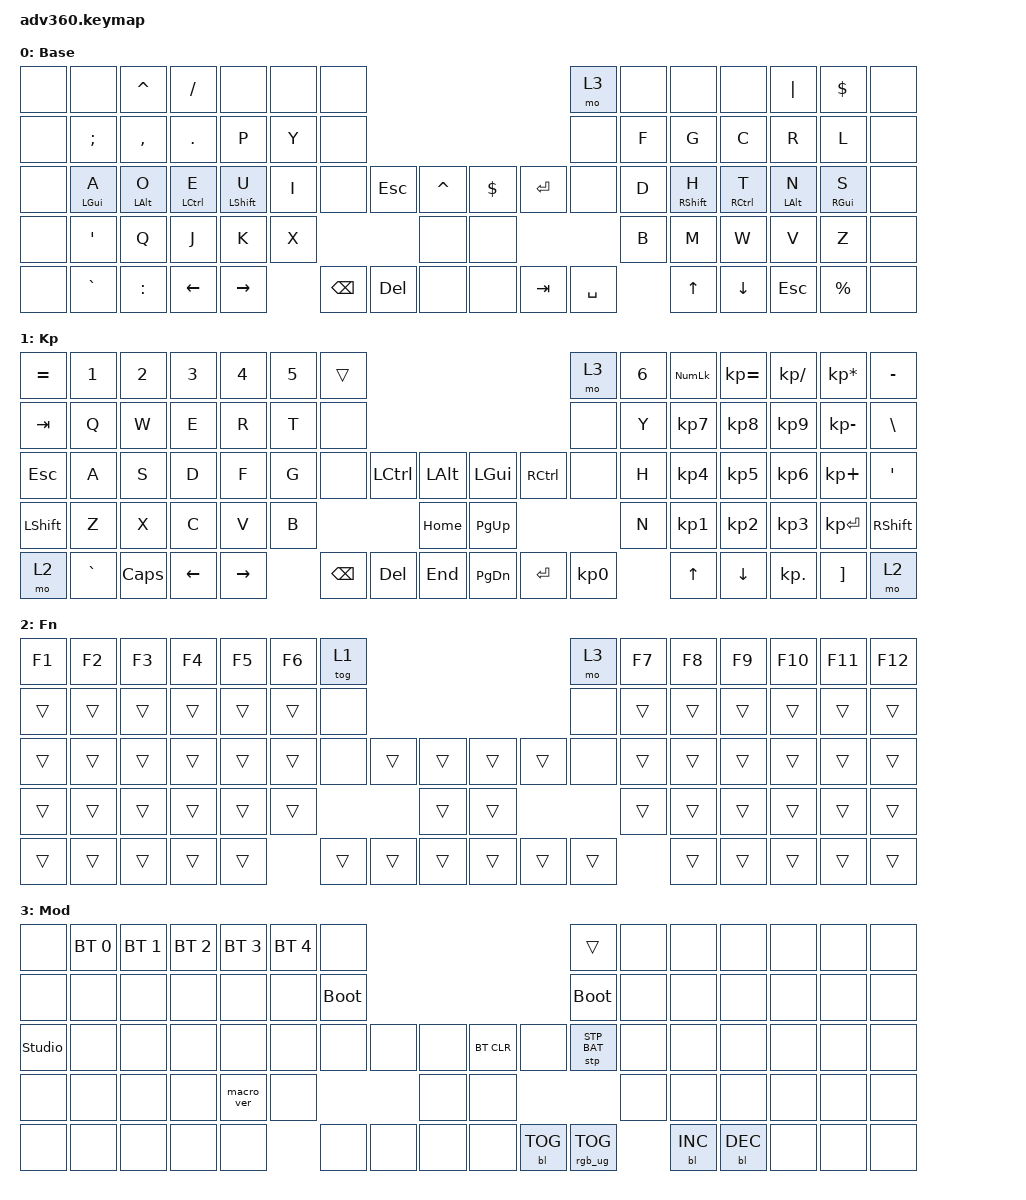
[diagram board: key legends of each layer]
#include <dt-bindings/zmk/stp.h>
#include <behaviors.dtsi>
#include <dt-bindings/zmk/backlight.h>
#include <dt-bindings/zmk/bt.h>
#include <dt-bindings/zmk/keys.h>
#include <dt-bindings/zmk/rgb.h>

/* Key positions */
/*
     LH_C6    LH_C5    LH_C4    LH_C3    LH_C2    LH_C1    LH_C0                                                           RH_C0    RH_C1    RH_C2    RH_C3    RH_C4    RH_C5    RH_C6

R1       0        1        2        3        4        5        6                                                               7        8        9       10       11       12       13
R2      14       15       16       17       18       19       20                                                              21       22       23       24       25       26       27
R3      28       29       30       31       32       33       34                35       36       37       38                 39       40       41       42       43       44       45
R4      46       47       48       49       50       51                                  52       53                                   54       55       56       57       58       59
R5      60       61       62       63       64                         65       66       67       68       69       70                          71       72       73       74       75
*/
// Row 1

#define POS_LH_C6R1 0
#define POS_LH_C5R1 1
#define POS_LH_C4R1 2
#define POS_LH_C3R1 3
#define POS_LH_C2R1 4
#define POS_LH_C1R1 5
#define POS_LH_C0R1 6
#define POS_RH_C0R1 7
#define POS_RH_C1R1 8
#define POS_RH_C2R1 9
#define POS_RH_C3R1 10
#define POS_RH_C4R1 11
#define POS_RH_C5R1 12
#define POS_RH_C6R1 13

// Row 2

#define POS_LH_C6R2 14
#define POS_LH_C5R2 15
#define POS_LH_C4R2 16
#define POS_LH_C3R2 17
#define POS_LH_C2R2 18
#define POS_LH_C1R2 19
#define POS_LH_C0R2 20
#define POS_RH_C0R2 21
#define POS_RH_C1R2 22
#define POS_RH_C2R2 23
#define POS_RH_C3R2 24
#define POS_RH_C4R2 25
#define POS_RH_C5R2 26
#define POS_RH_C6R2 27

// Row 3

#define POS_LH_C6R3 28
#define POS_LH_C5R3 29
#define POS_LH_C4R3 30
#define POS_LH_C3R3 31
#define POS_LH_C2R3 32
#define POS_LH_C1R3 33
#define POS_LH_C0R3 34
#define POS_LH_T1 35
#define POS_LH_T2 36
#define POS_RH_T2 37
#define POS_RH_T1 38
#define POS_RH_C0R3 39
#define POS_RH_C1R3 40
#define POS_RH_C2R3 41
#define POS_RH_C3R3 42
#define POS_RH_C4R3 43
#define POS_RH_C5R3 44
#define POS_RH_C6R3 45

// Row 4

#define POS_LH_C6R4 46
#define POS_LH_C5R4 47
#define POS_LH_C4R4 48
#define POS_LH_C3R4 49
#define POS_LH_C2R4 50
#define POS_LH_C1R4 51
#define POS_LH_T3 52
#define POS_RH_T3 53
#define POS_RH_C1R4 54
#define POS_RH_C2R4 55
#define POS_RH_C3R4 56
#define POS_RH_C4R4 57
#define POS_RH_C5R4 58
#define POS_RH_C6R4 59

// Row 5

#define POS_LH_C6R5 60
#define POS_LH_C5R5 61
#define POS_LH_C4R5 62
#define POS_LH_C3R5 63
#define POS_LH_C2R5 64
#define POS_LH_T4 65
#define POS_LH_T5 66
#define POS_LH_T6 67
#define POS_RH_T6 68
#define POS_RH_T5 69
#define POS_RH_T4 70
#define POS_RH_C2R5 71
#define POS_RH_C3R5 72
#define POS_RH_C4R5 73
#define POS_RH_C5R5 74
#define POS_RH_C6R5 75

//
// Keymap specific knowledge of the base layer's alpha + ZMK layout
//
/*
     LH_C6    LH_C5    LH_C4    LH_C3    LH_C2    LH_C1    LH_C0                                                           RH_C0    RH_C1    RH_C2    RH_C3    RH_C4    RH_C5    RH_C6

R1       _        _        ^        /        _        _        _                                                               _        _        _        |        $        _        _
R2       _        ;        ,        .        p        y        _                                                               _        f        g        c        r        l        _
R3       _        a        o        e        u        i        _               ESC        ^        $      RET                  _        d        h        t        n        s        _
R4       _        '        q        j        k        x                                   _        _                                    b        m        w        v        z        _
R5       _        `        :     LEFT    RIGHT                         BKSP    DEL        _        _      TAB      SPC                          UP     DOWN        :        %        _
*/
// Row 1
//#define KEY_LH_C6R1 0
//#define KEY_LH_C5R1 1

#define KEY_LH_C4R1 CARET
#define KEY_LH_C3R1 SLASH

//#define KEY_LH_C2R1 4
//#define KEY_LH_C1R1 5
//#define KEY_LH_C0R1 6
//#define KEY_RH_C0R1 7
//#define KEY_RH_C1R1 8
//#define KEY_RH_C2R1 9

#define KEY_RH_C3R1 PIPE
#define KEY_RH_C4R1 DOLLAR

//#define KEY_RH_C5R1 12
//#define KEY_RH_C6R1 13
// Row 2
//#define KEY_LH_C6R2 14

#define KEY_LH_C5R2 SEMICOLON
#define KEY_LH_C4R2 COMMA
#define KEY_LH_C3R2 PERIOD
#define KEY_LH_C2R2 P
#define KEY_LH_C1R2 Y

//#define KEY_LH_C0R2 20
//#define KEY_RH_C0R2 21

#define KEY_RH_C1R2 F
#define KEY_RH_C2R2 G
#define KEY_RH_C3R2 C
#define KEY_RH_C4R2 R
#define KEY_RH_C5R2 L

//#define KEY_RH_C6R2 27
// Row 3
//#define KEY_LH_C6R3 28

#define KEY_LH_C5R3 A
#define KEY_LH_C4R3 O
#define KEY_LH_C3R3 E
#define KEY_LH_C2R3 U
#define KEY_LH_C1R3 I

//#define KEY_LH_C0R3 34

#define KEY_LH_T1 ESCAPE
#define KEY_LH_T2 CARET
#define KEY_RH_T2 RETURN
#define KEY_RH_T1 DOLLAR

//#define KEY_RH_C0R3 39

#define KEY_RH_C1R3 D
#define KEY_RH_C2R3 H
#define KEY_RH_C3R3 T
#define KEY_RH_C4R3 N
#define KEY_RH_C5R3 S

//#define KEY_RH_C6R3 45
// Row 4
//#define KEY_LH_C6R4 46

#define KEY_LH_C5R4 SINGLE_QUOTE
#define KEY_LH_C4R4 Q
#define KEY_LH_C3R4 J
#define KEY_LH_C2R4 K
#define KEY_LH_C1R4 X

//#define KEY_LH_T3 52
//#define KEY_RH_T3 53

#define KEY_RH_C1R4 B
#define KEY_RH_C2R4 M
#define KEY_RH_C3R4 W
#define KEY_RH_C4R4 V
#define KEY_RH_C5R4 Z

//#define KEY_RH_C6R4 59
// Row 5
//#define KEY_LH_C6R5 60

#define KEY_LH_C5R5 GRAVE
#define KEY_LH_C4R5 COLON
#define KEY_LH_C3R5 LEFT
#define KEY_LH_C2R5 RIGHT
#define KEY_LH_T4 BACKSPACE
#define KEY_LH_T5 DELETE

//#define KEY_LH_T6 67
//#define KEY_RH_T6 68

#define KEY_RH_T5 TAB
#define KEY_RH_T4 SPACE
#define KEY_RH_C2R5 UP
#define KEY_RH_C3R5 DOWN
#define KEY_RH_C4R5 ESCAPE
#define KEY_RH_C5R5 PERCENT

//#define KEY_RH_C6R5 75

/ {
    behaviors {
        #include "macros.dtsi"
      #include "version.dtsi"

        hml_index: hml_index {
            compatible = "zmk,behavior-hold-tap";
            label = "HML_INDEX";
            #binding-cells = <2>;
            tapping-term-ms = <250>;
            quick-tap-ms = <175>;
            require-prior-idle-ms = <150>;
            flavor = "balanced";
            hold-trigger-on-release;
            hold-while-undecided;
            bindings = <&kp>, <&kp>;

            hold-trigger-key-positions = <
          /* right hand alpha keys */
          6  7  8  9  10 11 12
          19 20 21 22 23 24 25
          32 33 34 35 36 37 38
          45 46 47 48 49 50
          57 58 59 60 61 62
            >;
        };

        hml_middle: hml_middle {
            compatible = "zmk,behavior-hold-tap";
            label = "HML_MIDDLE";
            #binding-cells = <2>;
            tapping-term-ms = <270>;
            quick-tap-ms = <175>;
            require-prior-idle-ms = <150>;
            flavor = "balanced";
            hold-trigger-on-release;
            hold-while-undecided;
            bindings = <&kp>, <&kp>;

            hold-trigger-key-positions = <
          /* right hand alpha keys */
          6  7  8  9  10 11 12
          19 20 21 22 23 24 25
          32 33 34 35 36 37 38
          45 46 47 48 49 50
          57 58 59 60 61 62
            >;
        };

        hml_ring: hml_ring {
            compatible = "zmk,behavior-hold-tap";
            label = "HML_RING";
            #binding-cells = <2>;
            tapping-term-ms = <300>;
            quick-tap-ms = <175>;
            require-prior-idle-ms = <150>;
            flavor = "balanced";
            hold-trigger-on-release;
            bindings = <&kp>, <&kp>;

            hold-trigger-key-positions = <
          /* right hand alpha keys */
          6  7  8  9  10 11 12
          19 20 21 22 23 24 25
          32 33 34 35 36 37 38
          45 46 47 48 49 50
          57 58 59 60 61 62
            >;
        };

        hml_pinky: hml_pinky {
            compatible = "zmk,behavior-hold-tap";
            label = "HML_PINKY";
            #binding-cells = <2>;
            tapping-term-ms = <330>;
            quick-tap-ms = <175>;
            require-prior-idle-ms = <150>;
            flavor = "balanced";
            hold-trigger-on-release;
            bindings = <&kp>, <&kp>;

            hold-trigger-key-positions = <
          /* right hand alpha keys */
          6  7  8  9  10 11 12
          19 20 21 22 23 24 25
          32 33 34 35 36 37 38
          45 46 47 48 49 50
          57 58 59 60 61 62
            >;
        };

        hmr_index: hmr_index {
            compatible = "zmk,behavior-hold-tap";
            label = "HMR_INDEX";
            #binding-cells = <2>;
            tapping-term-ms = <250>;
            quick-tap-ms = <175>;
            require-prior-idle-ms = <150>;
            flavor = "balanced";
            hold-trigger-on-release;
            hold-while-undecided;
            bindings = <&kp>, <&kp>;

            hold-trigger-key-positions = <
          /* left hand alpha keys */
          0  1  2  3  4  5
          13 14 15 16 17 18
          26 27 28 29 30 31
          39 40 41 42 43 44
          51 52 53 54 55 56
            >;
        };

        hmr_middle: hmr_middle {
            compatible = "zmk,behavior-hold-tap";
            label = "HMR_MIDDLE";
            #binding-cells = <2>;
            tapping-term-ms = <270>;
            quick-tap-ms = <175>;
            require-prior-idle-ms = <150>;
            flavor = "balanced";
            hold-trigger-on-release;
            hold-while-undecided;
            bindings = <&kp>, <&kp>;

            hold-trigger-key-positions = <
          /* left hand alpha keys */
          0  1  2  3  4  5
          13 14 15 16 17 18
          26 27 28 29 30 31
          39 40 41 42 43 44
          51 52 53 54 55 56
            >;
        };

        hmr_ring: hmr_ring {
            compatible = "zmk,behavior-hold-tap";
            label = "HMR_RING";
            #binding-cells = <2>;
            tapping-term-ms = <300>;
            quick-tap-ms = <175>;
            require-prior-idle-ms = <150>;
            flavor = "balanced";
            hold-trigger-on-release;
            bindings = <&kp>, <&kp>;

            hold-trigger-key-positions = <
          /* left hand alpha keys */
          0  1  2  3  4  5
          13 14 15 16 17 18
          26 27 28 29 30 31
          39 40 41 42 43 44
          51 52 53 54 55 56
            >;
        };

        hmr_pinky: hmr_pinky {
            compatible = "zmk,behavior-hold-tap";
            label = "HMR_PINKY";
            #binding-cells = <2>;
            tapping-term-ms = <330>;
            quick-tap-ms = <175>;
            require-prior-idle-ms = <150>;
            flavor = "balanced";
            hold-trigger-on-release;
            bindings = <&kp>, <&kp>;

            hold-trigger-key-positions = <
          /* left hand alpha keys */
          0  1  2  3  4  5
          13 14 15 16 17 18
          26 27 28 29 30 31
          39 40 41 42 43 44
          51 52 53 54 55 56
            >;
        };
    };

    keymap {
        compatible = "zmk,keymap";

        default_layer {
            display-name = "Base";
            bindings = <
&none  &none                        &kp KEY_LH_C4R1             &kp KEY_LH_C3R1                &none                         &none            &none                                                                          &mo 3          &none            &none                         &none                          &kp KEY_RH_C3R1             &kp KEY_RH_C4R1              &none
&none  &kp KEY_LH_C5R2              &kp KEY_LH_C4R2             &kp KEY_LH_C3R2                &kp KEY_LH_C2R2               &kp KEY_LH_C1R2  &none                                                                          &none          &kp KEY_RH_C1R2  &kp KEY_RH_C2R2               &kp KEY_RH_C3R2                &kp KEY_RH_C4R2             &kp KEY_RH_C5R2              &none
&none  &hml_pinky LGUI KEY_LH_C5R3  &hml_ring LALT KEY_LH_C4R3  &hml_middle LCTRL KEY_LH_C3R3  &hml_index LSHFT KEY_LH_C2R3  &kp KEY_LH_C1R3  &none          &kp KEY_LH_T1  &kp KEY_LH_T2      &kp KEY_RH_T1  &kp KEY_RH_T2  &none          &kp KEY_RH_C1R3  &hmr_index RSHFT KEY_RH_C2R3  &hmr_middle RCTRL KEY_RH_C3R3  &hmr_ring LALT KEY_RH_C4R3  &hmr_pinky RGUI KEY_RH_C5R3  &none
&none  &kp KEY_LH_C5R4              &kp KEY_LH_C4R4             &kp KEY_LH_C3R4                &kp KEY_LH_C2R4               &kp KEY_LH_C1R4                                &none              &none                                        &kp KEY_RH_C1R4  &kp KEY_RH_C2R4               &kp KEY_RH_C3R4                &kp KEY_RH_C4R4             &kp KEY_RH_C5R4              &none
&none  &kp KEY_LH_C5R5              &kp KEY_LH_C4R5             &kp KEY_LH_C3R5                &kp KEY_LH_C2R5                                &kp KEY_LH_T4  &kp KEY_LH_T5  &none              &none          &kp KEY_RH_T5  &kp KEY_RH_T4                   &kp KEY_RH_C2R5               &kp KEY_RH_C3R5                &kp KEY_RH_C4R5             &kp KEY_RH_C5R5              &none
            >;
        };

        keypad {
            display-name = "Kp";
            bindings = <
&kp EQUAL  &kp N1     &kp N2    &kp N3    &kp N4     &kp N5  &trans                                                   &mo 3      &kp N6  &kp KP_NUM  &kp KP_EQUAL  &kp KP_DIVIDE  &kp KP_MULTIPLY  &kp MINUS
&kp TAB    &kp Q      &kp W     &kp E     &kp R      &kp T   &none                                                    &none      &kp Y   &kp KP_N7   &kp KP_N8     &kp KP_N9      &kp KP_MINUS     &kp BSLH
&kp ESC    &kp A      &kp S     &kp D     &kp F      &kp G   &none     &kp LCTRL  &kp LALT      &kp LGUI   &kp RCTRL  &none      &kp H   &kp KP_N4   &kp KP_N5     &kp KP_N6      &kp KP_PLUS      &kp SQT
&kp LSHFT  &kp Z      &kp X     &kp C     &kp V      &kp B                        &kp HOME      &kp PG_UP                        &kp N   &kp KP_N1   &kp KP_N2     &kp KP_N3      &kp KP_ENTER     &kp RSHFT
&mo 2      &kp GRAVE  &kp CAPS  &kp LEFT  &kp RIGHT          &kp BSPC  &kp DEL    &kp END       &kp PG_DN  &kp ENTER  &kp KP_N0          &kp UP      &kp DOWN      &kp KP_DOT     &kp RBKT         &mo 2
            >;
        };

        fn {
            display-name = "Fn";
            bindings = <
&kp F1  &kp F2  &kp F3  &kp F4  &kp F5  &kp F6  &tog 1                                      &mo 3   &kp F7  &kp F8  &kp F9  &kp F10  &kp F11  &kp F12
&trans  &trans  &trans  &trans  &trans  &trans  &none                                       &none   &trans  &trans  &trans  &trans   &trans   &trans
&trans  &trans  &trans  &trans  &trans  &trans  &none   &trans  &trans      &trans  &trans  &none   &trans  &trans  &trans  &trans   &trans   &trans
&trans  &trans  &trans  &trans  &trans  &trans                  &trans      &trans                  &trans  &trans  &trans  &trans   &trans   &trans
&trans  &trans  &trans  &trans  &trans          &trans  &trans  &trans      &trans  &trans  &trans          &trans  &trans  &trans   &trans   &trans
            >;
        };

        mod {
            display-name = "Mod";
            bindings = <
&none           &bt BT_SEL 0  &bt BT_SEL 1  &bt BT_SEL 2  &bt BT_SEL 3  &bt BT_SEL 4  &none                                                  &trans           &none  &none       &none       &none  &none  &none
&none           &none         &none         &none         &none         &none         &bootloader                                            &bootloader      &none  &none       &none       &none  &none  &none
&studio_unlock  &none         &none         &none         &none         &none         &none        &none  &none      &bt BT_CLR  &none       &stp STP_BAT     &none  &none       &none       &none  &none  &none
&none           &none         &none         &none         &macro_ver    &none                             &none      &none                                    &none  &none       &none       &none  &none  &none
&none           &none         &none         &none         &none                       &none        &none  &none      &none       &bl BL_TOG  &rgb_ug RGB_TOG         &bl BL_INC  &bl BL_DEC  &none  &none  &none
            >;
        };

        extra1 {
            display-name = "Red";
            status = "reserved";
        };

        extra2 {
            display-name = "Purple";
            status = "reserved";
        };

        extra3 {
            display-name = "Cyan";
            status = "reserved";
        };

        extra4 {
            display-name = "Yellow";
            status = "reserved";
        };
    };
};
